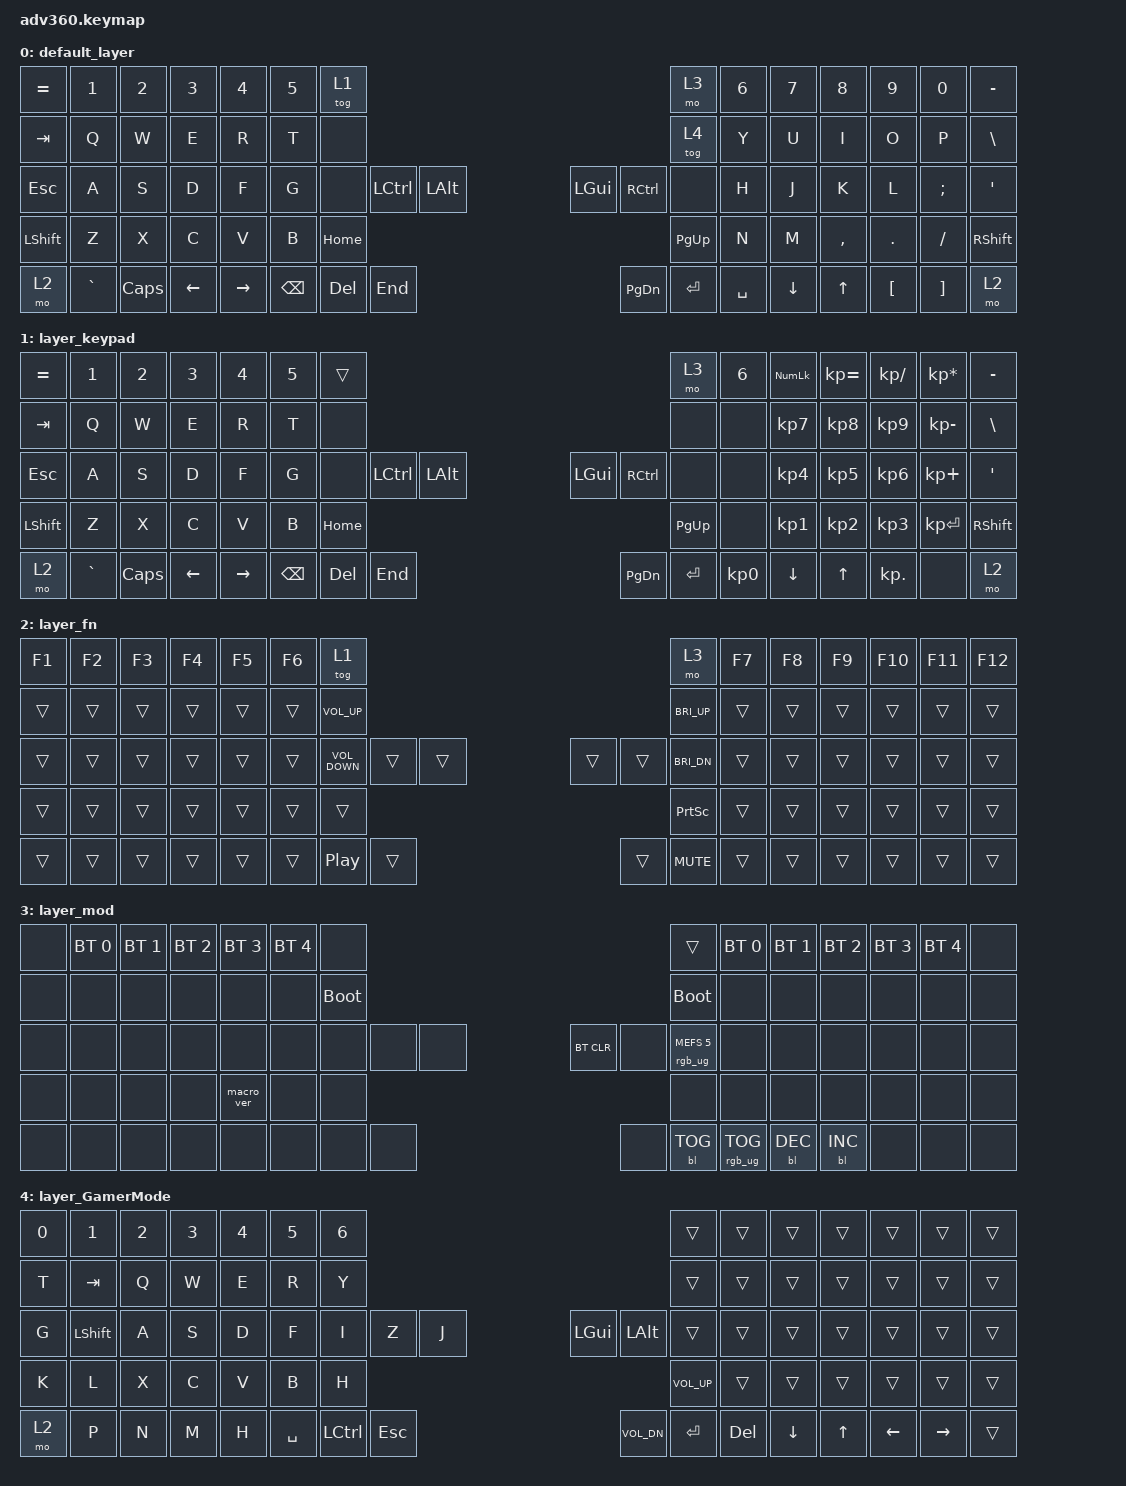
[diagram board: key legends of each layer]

/*
 * Copyright (c) 2020 The ZMK Contributors
 *
 * SPDX-License-Identifier: MIT
 */


/* THIS FILE WAS GENERATED!
 *
 * This file was generated automatically. You may or may not want to
 * edit it directly.
 */

#include <behaviors.dtsi>
#include <dt-bindings/zmk/keys.h>
#include <dt-bindings/zmk/bt.h>
#include <dt-bindings/zmk/rgb.h>
#include <dt-bindings/zmk/backlight.h>

/ {
  behaviors {
    #include "macros.dtsi"
    #include "version.dtsi"

    hm: homerow_mods {
        compatible = "zmk,behavior-hold-tap";
        label = "HOMEROW_MODS";
        #binding-cells = <2>;
        tapping-term-ms = <200>;
        quick_tap_ms = <175>;
        flavor = "tap-preferred";
        bindings = <&kp>, <&kp>;
    };
  };

    keymap {
        compatible = "zmk,keymap";


        default_layer {
            bindings = <
 &kp EQUAL     &kp N1    &kp N2    &kp N3     &kp N4  &kp N5              &tog 1                                                                 &mo 3  &kp N6    &kp N7     &kp N8    &kp N9    &kp N0  &kp MINUS
   &kp TAB      &kp Q     &kp W     &kp E      &kp R   &kp T               &none                                                                &tog 4   &kp Y     &kp U      &kp I     &kp O     &kp P   &kp BSLH
   &kp ESC      &kp A     &kp S     &kp D      &kp F   &kp G               &none  &kp LCTRL  &kp LALT                   &kp LGUI  &kp RCTRL      &none   &kp H     &kp J      &kp K     &kp L  &kp SEMI    &kp SQT
 &kp LSHFT      &kp Z     &kp X     &kp C      &kp V   &kp B                                 &kp HOME                  &kp PG_UP                         &kp N     &kp M  &kp COMMA   &kp DOT  &kp FSLH  &kp RSHFT
     &mo 2  &kp GRAVE  &kp CAPS  &kp LEFT  &kp RIGHT                    &kp BSPC    &kp DEL   &kp END                  &kp PG_DN  &kp ENTER  &kp SPACE          &kp DOWN     &kp UP  &kp LBKT  &kp RBKT      &mo 2
            >;
        };

        layer_keypad {
            bindings = <
 &kp EQUAL     &kp N1    &kp N2    &kp N3     &kp N4  &kp N5              &trans                                                                 &mo 3  &kp N6  &kp KP_NUM  &kp KP_EQUAL  &kp KP_DIVIDE  &kp KP_MULTIPLY  &kp MINUS
   &kp TAB      &kp Q     &kp W     &kp E      &kp R   &kp T               &none                                                                 &none   &none   &kp KP_N7     &kp KP_N8      &kp KP_N9     &kp KP_MINUS   &kp BSLH
   &kp ESC      &kp A     &kp S     &kp D      &kp F   &kp G               &none  &kp LCTRL  &kp LALT                   &kp LGUI  &kp RCTRL      &none   &none   &kp KP_N4     &kp KP_N5      &kp KP_N6      &kp KP_PLUS    &kp SQT
 &kp LSHFT      &kp Z     &kp X     &kp C      &kp V   &kp B                                 &kp HOME                  &kp PG_UP                         &none   &kp KP_N1     &kp KP_N2      &kp KP_N3     &kp KP_ENTER  &kp RSHFT
     &mo 2  &kp GRAVE  &kp CAPS  &kp LEFT  &kp RIGHT                    &kp BSPC    &kp DEL   &kp END                  &kp PG_DN  &kp ENTER  &kp KP_N0            &kp DOWN        &kp UP     &kp KP_DOT            &none      &mo 2
            >;
        };

        layer_fn {
            bindings = <
 &kp F1  &kp F2  &kp F3  &kp F4  &kp F5  &kp F6                       &tog 1                                                                                &mo 3  &kp F7  &kp F8  &kp F9  &kp F10  &kp F11  &kp F12
 &trans  &trans  &trans  &trans  &trans  &trans                 &kp C_VOL_UP                                                                         &kp C_BRI_UP  &trans  &trans  &trans   &trans   &trans   &trans
 &trans  &trans  &trans  &trans  &trans  &trans            &kp C_VOLUME_DOWN            &trans  &trans                           &trans      &trans  &kp C_BRI_DN  &trans  &trans  &trans   &trans   &trans   &trans
 &trans  &trans  &trans  &trans  &trans  &trans                                                 &trans                  &kp PRINTSCREEN                            &trans  &trans  &trans   &trans   &trans   &trans
 &trans  &trans  &trans  &trans  &trans                               &trans  &kp C_PLAY_PAUSE  &trans                           &trans  &kp C_MUTE        &trans          &trans  &trans   &trans   &trans   &trans
            >;
        };

        layer_mod {
            bindings = <
  &none  &bt BT_SEL 0  &bt BT_SEL 1  &bt BT_SEL 2  &bt BT_SEL 3  &bt BT_SEL 4                  &none                                                                          &trans  &bt BT_SEL 0  &bt BT_SEL 1  &bt BT_SEL 2  &bt BT_SEL 3  &bt BT_SEL 4   &none
  &none         &none         &none         &none         &none         &none            &bootloader                                                                     &bootloader         &none         &none         &none         &none         &none   &none
  &none         &none         &none         &none         &none         &none                  &none   &none   &none                  &bt BT_CLR       &none  &rgb_ug RGB_MEFS_CMD 5         &none         &none         &none         &none         &none   &none
  &none         &none         &none         &none    &macro_ver         &none                                  &none                       &none                                             &none         &none         &none         &none         &none   &none
  &none         &none         &none         &none         &none                                &none   &none   &none                       &none  &bl BL_TOG         &rgb_ug RGB_TOG                  &bl BL_DEC    &bl BL_INC         &none         &none   &none
            >;
        };

        layer_GamerMode {
            bindings = <
 &kp N0          &kp N1  &kp N2  &kp N3  &kp N4  &kp N5               &kp N6                                                                   &trans  &trans    &trans  &trans    &trans     &trans  &trans
  &kp T         &kp TAB   &kp Q   &kp W   &kp E   &kp R                &kp Y                                                                   &trans  &trans    &trans  &trans    &trans     &trans  &trans
  &kp G  &kp LEFT_SHIFT   &kp A   &kp S   &kp D   &kp F                &kp I      &kp Z    &kp J                      &kp LGUI  &kp LEFT_ALT   &trans  &trans    &trans  &trans    &trans     &trans  &trans
  &kp K           &kp L   &kp X   &kp C   &kp V   &kp B                                    &kp H                  &kp C_VOL_UP                         &trans    &trans  &trans    &trans     &trans  &trans
  &mo 2           &kp P   &kp N   &kp M   &kp H                    &kp SPACE  &kp LCTRL  &kp ESC                  &kp C_VOL_DN     &kp ENTER  &kp DEL          &kp DOWN  &kp UP  &kp LEFT  &kp RIGHT  &trans
            >;
        };

    };
};
